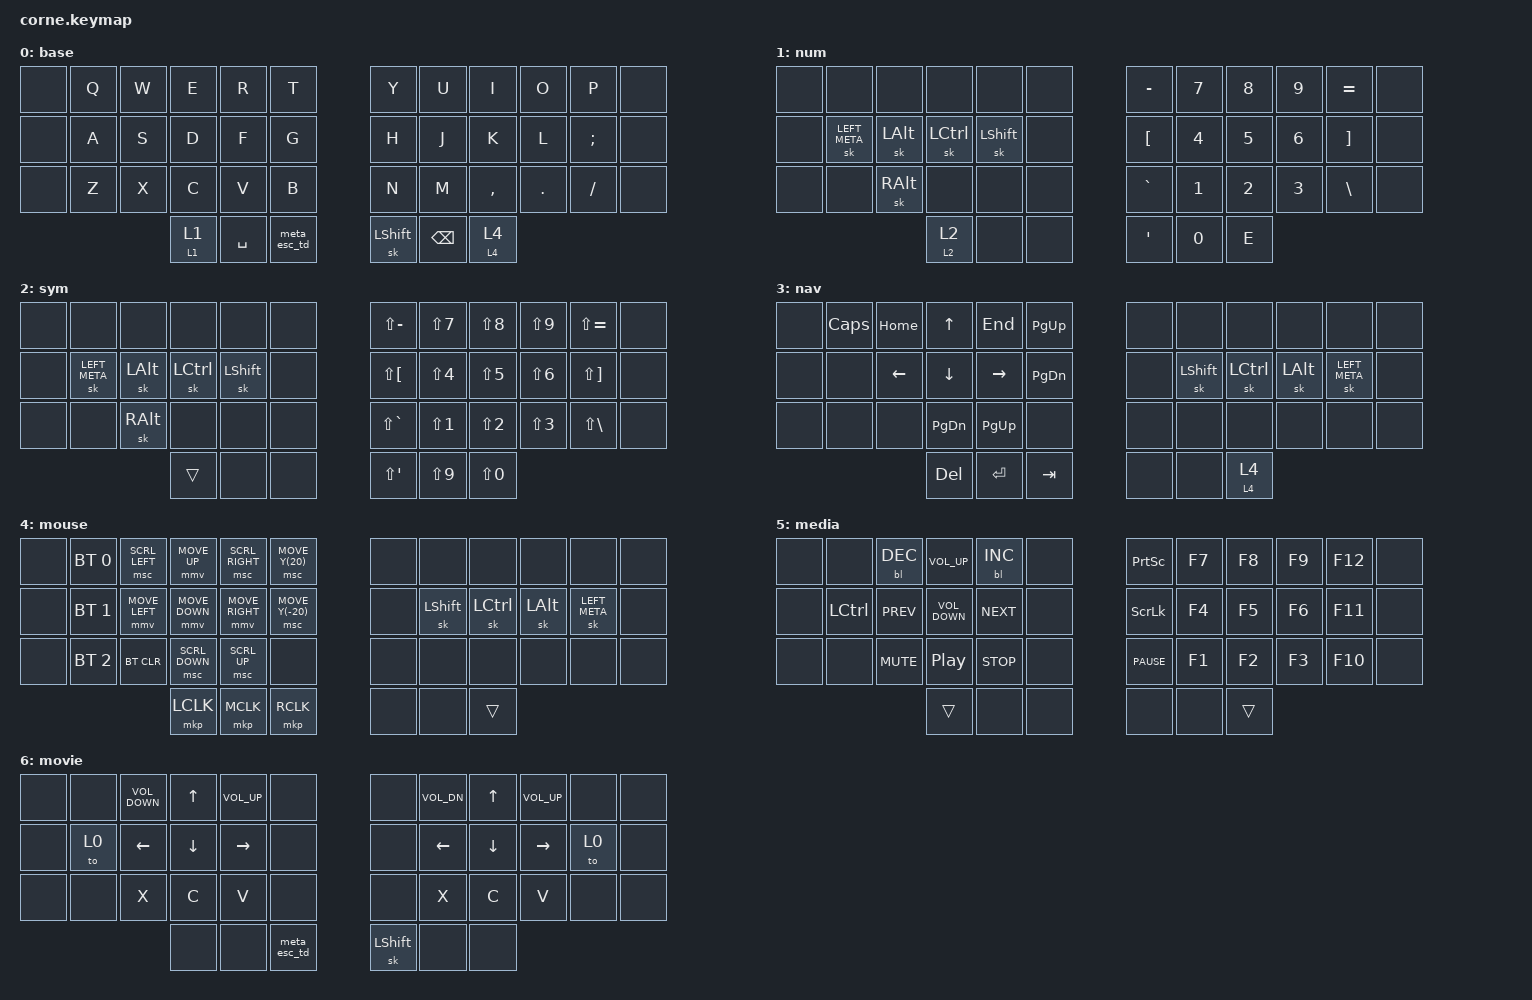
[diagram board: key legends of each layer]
/*
 * Copyright (c) 2020 The ZMK Contributors
 *
 * SPDX-License-Identifier: MIT
 */
// Top cursor speed (default 600). Must be defined BEFORE pointing.h, which
// uses it (guarded by #ifndef) for MOVE_UP/DOWN/LEFT/RIGHT. Scales the whole
// curve, so the start is faster too.

#define ZMK_POINTING_DEFAULT_MOVE_VAL 800

// With smooth scrolling (CONFIG_ZMK_POINTING_SMOOTH_SCROLLING) scroll is high-res,
// so SCRL_VAL uses MOVE-sized values (hundreds), not the tiny default of 10.

#define ZMK_POINTING_DEFAULT_SCRL_VAL 600

#include <behaviors.dtsi>
#include <dt-bindings/zmk/backlight.h>
#include <dt-bindings/zmk/bt.h>
#include <dt-bindings/zmk/keys.h>
#include <dt-bindings/zmk/pointing.h>

&sk { quick-release; };

// Mouse feel: linear ramp (no slow ease-in start), reaches full speed quickly.

&mmv {
    acceleration-exponent = <1>;    // 1 = linear from the start (no slow ease-in); 0 = instant full speed
    time-to-max-speed-ms = <250>;   // shorter ramp = accelerates faster
    delay-ms = <0>;
};

&msc {
    acceleration-exponent = <1>;    // increasing speed; smooth thanks to high-res scrolling
    time-to-max-speed-ms = <300>;   // ramp to full scroll speed
    delay-ms = <0>;                 // no dead time before scrolling starts
};

/ {
    behaviors {
        meta_esc_td: meta_esc_td {
            compatible = "zmk,behavior-tap-dance";
            label = "META_ESC_TD";
            #binding-cells = <0>;
            bindings = <&kp LEFT_GUI>, <&kp ESCAPE>;
        };

        // Layer access: HOLD = momentary (&mo), TAP = sticky-for-one-press (&sl).
        // Holding never engages sticky behaviour, so you can move/click as many
        // times as you like and the layer drops the instant you let go.

        lsl: layer_hold_sticky {
            compatible = "zmk,behavior-hold-tap";
            label = "LAYER_HOLD_STICKY";
            #binding-cells = <2>;
            flavor = "balanced";
            tapping-term-ms = <200>;
            bindings = <&mo>, <&sl>;
        };
    };

    combos {
        compatible = "zmk,combos";

        n_tilde_combo {
            bindings = <&kp RA(L)>;
            key-positions = <1 21>;
        };

        media_combo {
            bindings = <&sl 5>;
            key-positions = <36 41>;
        };

        Movie {
            bindings = <&sl 6>;
            key-positions = <36 41 19 16>;
        };
    };

    keymap {
        compatible = "zmk,keymap";

        base {
            // -----------------------------------------------------------------------------------------
            // |  TAB |  Q  |  W  |  E  |  R  |  T  |   |  Y  |  U   |  I  |  O  |  P  | BKSP |
            // | CTRL |  A  |  S  |  D  |  F  |  G  |   |  H  |  J   |  K  |  L  |  ;  |  '   |
            // | SHFT |  Z  |  X  |  C  |  V  |  B  |   |  N  |  M   |  ,  |  .  |  /  | ESC  |
            //                    | GUI | LWR | SPC |   | ENT | RSE  | ALT |

            bindings = <
&none  &kp Q  &kp W  &kp E     &kp R      &kp T           &kp Y      &kp U          &kp I      &kp O    &kp P     &none
&none  &kp A  &kp S  &kp D     &kp F      &kp G           &kp H      &kp J          &kp K      &kp L    &kp SEMI  &none
&none  &kp Z  &kp X  &kp C     &kp V      &kp B           &kp N      &kp M          &kp COMMA  &kp DOT  &kp FSLH  &none
                     &lsl 1 1  &kp SPACE  &meta_esc_td    &sk LSHFT  &kp BACKSPACE  &lsl 4 4
            >;
        };

        num {
            bindings = <
&none  &none          &none          &none      &none           &none    &kp MINUS  &kp N7  &kp N8  &kp N9  &kp EQUAL      &none
&none  &sk LEFT_META  &sk LEFT_ALT   &sk LCTRL  &sk LEFT_SHIFT  &none    &kp LBKT   &kp N4  &kp N5  &kp N6  &kp RBKT       &none
&none  &none          &sk RIGHT_ALT  &none      &none           &none    &kp GRAVE  &kp N1  &kp N2  &kp N3  &kp BACKSLASH  &none
                                     &lsl 2 2   &none           &none    &kp APOS   &kp N0  &kp E
            >;
        };

        sym {
            bindings = <
&none  &none          &none          &none      &none           &none    &kp LS(MINUS)  &kp LS(N7)  &kp LS(N8)  &kp LS(N9)  &kp LS(EQUAL)      &none
&none  &sk LEFT_META  &sk LEFT_ALT   &sk LCTRL  &sk LEFT_SHIFT  &none    &kp LS(LBKT)   &kp LS(N4)  &kp LS(N5)  &kp LS(N6)  &kp LS(RBKT)       &none
&none  &none          &sk RIGHT_ALT  &none      &none           &none    &kp LS(GRAVE)  &kp LS(N1)  &kp LS(N2)  &kp LS(N3)  &kp LS(BACKSLASH)  &none
                                     &trans     &none           &none    &kp LS(APOS)   &kp LS(N9)  &kp LS(N0)
            >;
        };

        nav {
            bindings = <
&none  &kp CAPS  &kp HOME  &kp UP         &kp END    &kp PG_UP        &none  &none      &none             &none         &none          &none
&none  &none     &kp LEFT  &kp DOWN       &kp RIGHT  &kp PAGE_DOWN    &none  &sk LSHFT  &sk LEFT_CONTROL  &sk LEFT_ALT  &sk LEFT_META  &none
&none  &none     &none     &kp PAGE_DOWN  &kp PG_UP  &none            &none  &none      &none             &none         &none          &none
                           &kp DELETE     &kp ENTER  &kp TAB          &none  &none      &lsl 4 4
            >;
        };

        mouse {
            bindings = <
&none  &bt BT_SEL 0  &msc SCRL_LEFT  &mmv MOVE_UP    &msc SCRL_RIGHT  &msc MOVE_Y(20)     &none  &none      &none             &none         &none          &none
&none  &bt BT_SEL 1  &mmv MOVE_LEFT  &mmv MOVE_DOWN  &mmv MOVE_RIGHT  &msc MOVE_Y(-20)    &none  &sk LSHFT  &sk LEFT_CONTROL  &sk LEFT_ALT  &sk LEFT_META  &none
&none  &bt BT_SEL 2  &bt BT_CLR      &msc SCRL_DOWN  &msc SCRL_UP     &none               &none  &none      &none             &none         &none          &none
                                     &mkp LCLK       &mkp MCLK        &mkp RCLK           &none  &none      &trans
            >;
        };

        media {
            bindings = <
&none  &none      &bl BL_DEC  &kp C_VOL_UP       &bl BL_INC  &none    &kp PRINTSCREEN  &kp F7  &kp F8  &kp F9  &kp F12  &none
&none  &kp LCTRL  &kp C_PREV  &kp C_VOLUME_DOWN  &kp C_NEXT  &none    &kp SCROLLLOCK   &kp F4  &kp F5  &kp F6  &kp F11  &none
&none  &none      &kp C_MUTE  &kp C_PLAY_PAUSE   &kp C_STOP  &none    &kp C_PAUSE      &kp F1  &kp F2  &kp F3  &kp F10  &none
                              &trans             &none       &none    &none            &none   &trans
            >;
        };

        movie {
            bindings = <
&none  &none  &kp C_VOLUME_DOWN  &kp UP    &kp C_VOL_UP  &none           &none      &kp C_VOL_DN  &kp UP    &kp C_VOLUME_UP  &none  &none
&none  &to 0  &kp LEFT           &kp DOWN  &kp RIGHT     &none           &none      &kp LEFT      &kp DOWN  &kp RIGHT        &to 0  &none
&none  &none  &kp X              &kp C     &kp V         &none           &none      &kp X         &kp C     &kp V            &none  &none
                                 &none     &none         &meta_esc_td    &sk LSHFT  &none         &none
            >;
        };
    };
};
